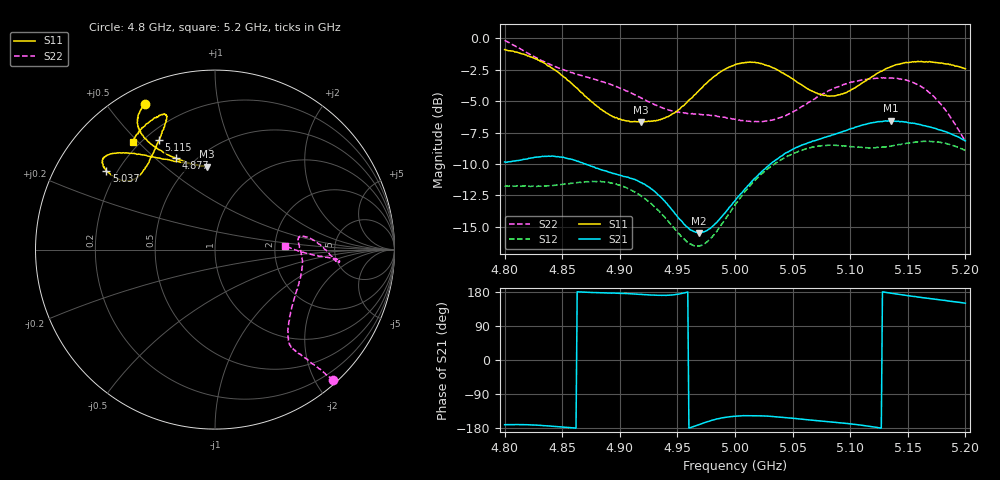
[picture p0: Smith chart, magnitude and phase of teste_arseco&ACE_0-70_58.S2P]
! Network Analyzer HP8722D
! Hewlett-Packard
! Data name: Linha & Wilkinson
! Saver's name: Rodrigo Anjos
! Comments: Teste da utilização de aquisição
! continua pelo VNA HP8722D
! Time and date: 8/5/2025 13:14
!  Frequency  S11  S21  S12  S22
# HZ  S  MA R 50
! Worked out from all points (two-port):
!   401 points, 4.8 GHz to 5.2 GHz, reference 50 ohm
!   highest |S21| = -6.56 dB at 5.135 GHz (marker M1); lowest = -15.5 dB at 4.969 GHz (marker M2)
!   |S21| within 3 dB of the highest: 4.821 GHz to 4.854 GHz (33.55 MHz wide, 0.694 % of centre); 5.037 GHz to end of sweep
!   lowest |S11| = -6.7 dB at 4.918 GHz (marker M3), VSWR 2.73, Z = 30 + j35.3 ohm
!   |S11| at or under -10 dB: nowhere
!   |S22| runs from -8.2 to -0.2 dB; largest |S21 - S12| = 0.83
!   S11 on the Smith chart (normalised r, x): 4.8 GHz: 0.07, +0.63; 4.877 GHz: 0.40, +0.59; 5.037 GHz: 0.16, +0.32; 5.115 GHz: 0.25, +0.58; 5.2 GHz: 0.17, +0.48
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4.8e9  0.9023 115.6  0.3221 -170.7  0.2583 -86.2  0.9813 -47.8
4.834e9  0.7991 122.2  0.3387 -173.1  0.2581 -77.1  0.8089 -49.9
4.848e9  0.7238 121.9  0.3367 -176.4  0.2615 -72.4  0.758 -50.8
4.867e9  0.6068 117.5  0.3202 179.3  0.2675 -67.7  0.7112 -51.7
4.877e9  0.5533 113.0  0.3078 178.0  0.2693 -66.7  0.6899 -52.1
4.9e9  0.4784 100.7  0.2854 175.9  0.2599 -67.1  0.6338 -50.2
4.918e9  0.4643 95.8  0.2669 173.1  0.2367 -69.1  0.5808 -45.0
4.934e9  0.4743 99.6  0.2369 170.7  0.2057 -69.8  0.535 -37.0
4.958e9  0.5539 116.2  0.1776 178.7  0.1553 -59.0  0.5028 -21.2
4.969e9  0.6219 123.8  0.1681 -170.2  0.149 -46.7  0.4998 -14.7
4.982e9  0.7062 130.6  0.181 -157.7  0.1658 -32.3  0.493 -7.9
5e9  0.7857 137.1  0.2255 -148.4  0.2173 -21.4  0.4755 -0.1
5.018e9  0.8016 141.5  0.2788 -146.9  0.2741 -18.7  0.4673 5.8
5.037e9  0.7479 144.0  0.3313 -150.0  0.3221 -18.9  0.4797 8.9
5.067e9  0.6169 141.7  0.3893 -158.7  0.3689 -21.2  0.567 4.3
5.087e9  0.5912 133.2  0.4155 -164.5  0.3753 -24.2  0.6364 -2.0
5.115e9  0.6861 117.1  0.4575 -174.4  0.3665 -27.3  0.6878 -5.9
5.134e9  0.7661 110.7  0.468 177.1  0.3716 -29.4  0.695 -5.2
5.135e9  0.7712 110.8  0.4699 176.5  0.3722 -29.4  0.6961 -5.1
5.16e9  0.8078 111.9  0.4541 165.6  0.3879 -35.5  0.6504 -4.2
5.18e9  0.7966 118.9  0.4293 158.0  0.3841 -41.7  0.5376 -2.9
5.2e9  0.7571 127.3  0.3908 149.9  0.358 -47.2  0.388 3.2
